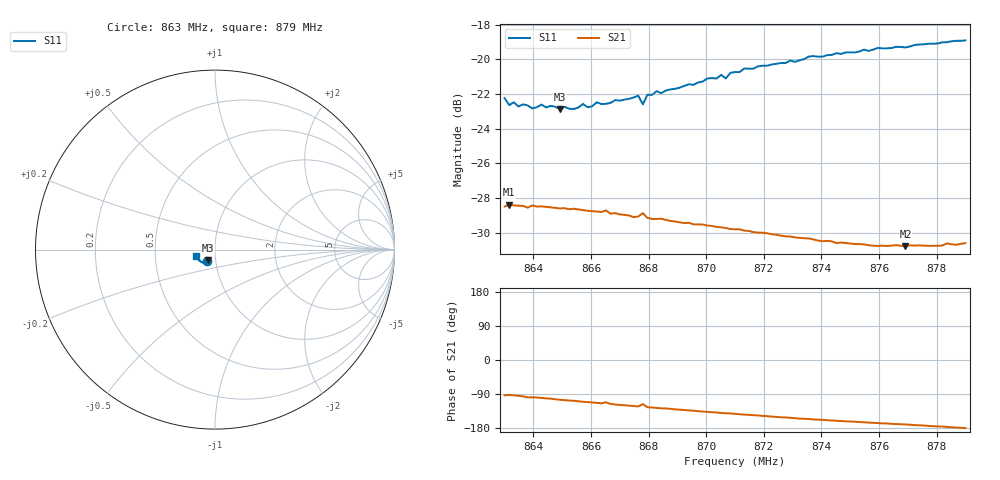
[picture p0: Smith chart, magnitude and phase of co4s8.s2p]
# HZ S RI R 50
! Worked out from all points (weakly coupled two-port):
!   101 points, 863 MHz to 879 MHz, reference 50 ohm
!   highest |S21| = -28.39 dB at 863.16 MHz (marker M1); lowest = -30.8 dB at 876.92 MHz (marker M2)
!   lowest |S11| = -22.9 dB at 864.92 MHz (marker M3), VSWR 1.15, Z = 45.9 - j5.53 ohm
!   |S11| at or under -10 dB: start of sweep to end of sweep
!   S12 and S22 are empty: the file has one direction only
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8.63e8  -0.0473 -0.0611  -0.00203 -0.0376  0 0  0 0
8.6316e8  -0.041 -0.0613  -0.00152 -0.038  0 0  0 0
8.6332e8  -0.0444 -0.0606  -0.00216 -0.0379  0 0  0 0
8.6348e8  -0.0394 -0.0615  -0.00298 -0.0377  0 0  0 0
8.6396e8  -0.0424 -0.0584  -0.0055 -0.0375  0 0  0 0
8.6428e8  -0.0411 -0.0616  -0.00661 -0.0371  0 0  0 0
8.6492e8  -0.0396 -0.0599  -0.00956 -0.0359  0 0  0 0
8.654e8  -0.0382 -0.0609  -0.0112 -0.0353  0 0  0 0
8.6572e8  -0.0389 -0.0633  -0.0127 -0.0345  0 0  0 0
8.6588e8  -0.0382 -0.0619  -0.0132 -0.0341  0 0  0 0
8.662e8  -0.0391 -0.0641  -0.0142 -0.0335  0 0  0 0
8.6764e8  -0.0402 -0.0674  -0.019 -0.0297  0 0  0 0
8.678e8  -0.0325 -0.0667  -0.016 -0.0322  0 0  0 0
8.6796e8  -0.0402 -0.068  -0.0198 -0.0287  0 0  0 0
8.6844e8  -0.0411 -0.0684  -0.0212 -0.0275  0 0  0 0
8.7052e8  -0.0526 -0.0732  -0.025 -0.0212  0 0  0 0
8.7068e8  -0.051 -0.0717  -0.0252 -0.0207  0 0  0 0
8.71e8  -0.0545 -0.0739  -0.0256 -0.0198  0 0  0 0
8.7372e8  -0.0739 -0.0705  -0.0278 -0.0119  0 0  0 0
8.7644e8  -0.0925 -0.0553  -0.0284 -0.00577  0 0  0 0
8.7692e8  -0.095 -0.0518  -0.0285 -0.00497  0 0  0 0
8.79e8  -0.1076 -0.0353  -0.0295 -7.7e-05  0 0  0 0
